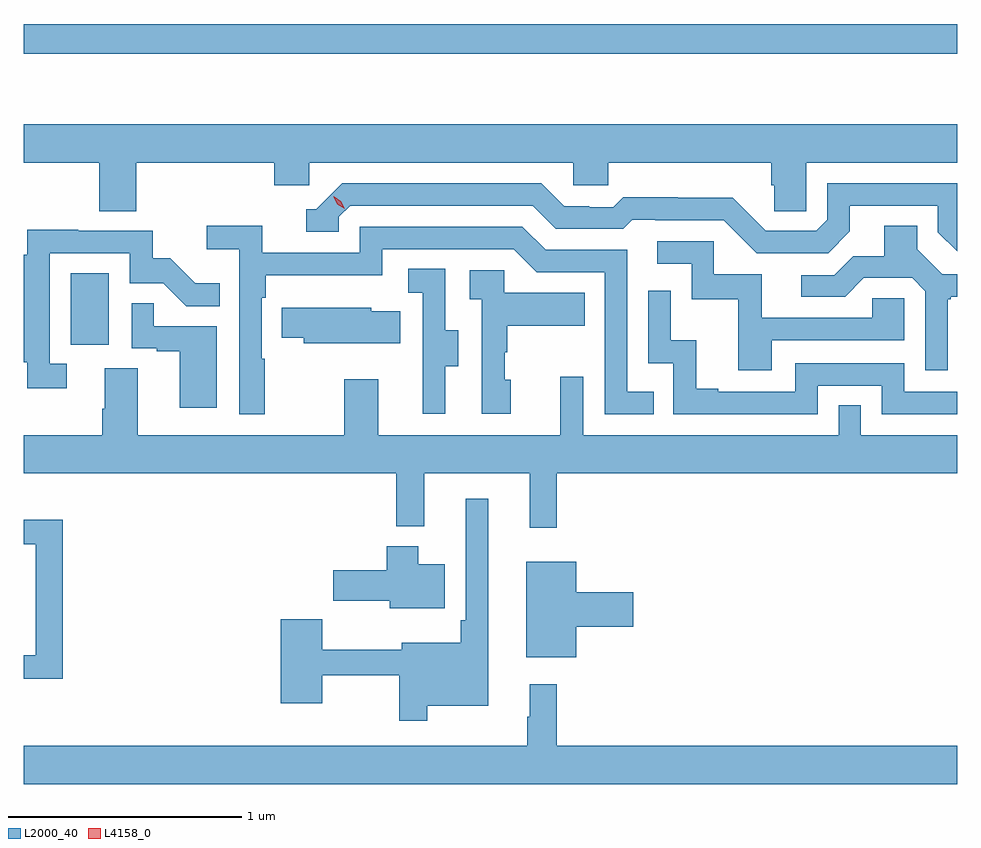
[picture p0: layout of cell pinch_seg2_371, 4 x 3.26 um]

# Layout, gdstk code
import gdstk
lib = gdstk.Library(unit=1e-6, precision=1e-09)
def R(c, l, rs):  # rectangles x0, y0, x1, y1
    for r in rs: c.add(gdstk.rectangle(r[:2], r[2:], *l))
def P(c, l, *ps):  # polygons
    for p in ps: c.add(gdstk.Polygon(p, *l))
L2000_40 = (2000, 40)
L4158_0 = (4158, 0)

pinch_seg2_371 = lib.new_cell('pinch_seg2_371')
R(pinch_seg2_371, L2000_40, [(992.714,620.214,992.878,620.521), (992.514,621.462,996.514,621.59)])
P(pinch_seg2_371, L2000_40, [(992.514,620.996),(992.836,620.996),(992.836,620.788),(992.996,620.788),(992.996,620.996),(993.587,620.996),(993.587,620.898),(993.738,620.898),(993.738,620.996),(994.869,620.996),(994.869,620.898),(995.019,620.898),(995.019,620.996),(995.717,620.996),(995.717,620.898),(995.731,620.898),(995.731,620.788),(995.868,620.788),(995.868,620.996),(996.514,620.996),(996.514,621.16),(992.514,621.16)],
  [(996.055,620.701),(996.055,620.811),(996.432,620.811),(996.432,620.697),(996.514,620.615),(996.514,620.907),(995.958,620.907),(995.958,620.751),(995.91,620.703),(995.694,620.703),(995.552,620.845),(995.316,620.845),(995.316,620.848),(995.083,620.848),(995.041,620.805),(994.938,620.805),(994.938,620.808),(994.831,620.808),(994.732,620.907),(993.879,620.907),(993.768,620.796),(993.725,620.796),(993.725,620.7),(993.864,620.7),(993.864,620.763),(993.912,620.811),(994.695,620.811),(994.794,620.712),(995.083,620.712),(995.122,620.751),(995.221,620.751),(995.221,620.748),(995.514,620.748),(995.655,620.607),(995.961,620.607)],
  [(996.475,620.409),(996.487,620.409),(996.487,620.42),(996.514,620.42),(996.514,620.517),(996.45,620.517),(996.343,620.624),(996.343,620.726),(996.203,620.726),(996.203,620.594),(996.068,620.594),(995.988,620.514),(995.847,620.514),(995.847,620.421),(996.034,620.421),(996.115,620.502),(996.321,620.502),(996.378,620.445),(996.378,620.106),(996.475,620.106)],
  [(993.547,620.156),(993.534,620.156),(993.534,620.417),(993.551,620.417),(993.551,620.513),(994.05,620.513),(994.05,620.625),(994.614,620.625),(994.713,620.526),(995.004,620.526),(995.004,619.917),(995.213,619.917),(995.213,620.013),(995.1,620.013),(995.1,620.622),(994.75,620.622),(994.651,620.721),(993.954,620.721),(993.954,620.61),(993.536,620.61),(993.536,620.726),(993.297,620.726),(993.297,620.624),(993.438,620.624),(993.438,619.917),(993.547,619.917)],
  [(992.698,620.133),(992.625,620.133),(992.625,620.607),(992.967,620.607),(992.967,620.478),(993.111,620.478),(993.209,620.38),(993.353,620.38),(993.353,620.479),(993.249,620.479),(993.142,620.586),(993.066,620.586),(993.066,620.703),(992.747,620.703),(992.747,620.708),(992.528,620.708),(992.528,620.6),(992.514,620.6),(992.514,620.14),(992.528,620.14),(992.528,620.028),(992.698,620.028)],
  [(995.719,620.235),(996.288,620.235),(996.288,620.415),(996.151,620.415),(996.151,620.331),(995.677,620.331),(995.677,620.517),(995.472,620.517),(995.472,620.658),(995.229,620.658),(995.229,620.562),(995.376,620.562),(995.376,620.409),(995.575,620.409),(995.575,620.106),(995.719,620.106)],
  [(994.321,620.122),(994.375,620.122),(994.375,620.277),(994.32,620.277),(994.32,620.54),(994.161,620.54),(994.161,620.437),(994.224,620.437),(994.224,620.133),(994.223,620.133),(994.223,619.92),(994.321,619.92)],
  [(994.6,620.064),(994.575,620.064),(994.575,620.183),(994.585,620.183),(994.585,620.297),(994.919,620.297),(994.919,620.437),(994.572,620.437),(994.572,620.535),(994.425,620.535),(994.425,620.411),(994.476,620.411),(994.476,619.92),(994.6,619.92)],
  [(995.916,620.04),(996.192,620.04),(996.192,619.917),(996.514,619.917),(996.514,620.013),(996.288,620.013),(996.288,620.136),(995.82,620.136),(995.82,620.013),(995.491,620.013),(995.491,620.026),(995.396,620.026),(995.396,620.234),(995.286,620.234),(995.286,620.446),(995.19,620.446),(995.19,620.136),(995.298,620.136),(995.298,619.917),(995.916,619.917)],
  [(993.34,620.295),(993.071,620.295),(993.071,620.393),(992.976,620.393),(992.976,620.199),(993.083,620.199),(993.083,620.187),(993.182,620.187),(993.182,619.944),(993.34,619.944)],
  [(994.127,620.359),(994.002,620.359),(994.002,620.374),(993.73,620.374),(993.73,620.373),(993.619,620.373),(993.619,620.245),(993.713,620.245),(993.713,620.222),(994.127,620.222)],
  [(996.514,619.828),(996.102,619.828),(996.102,619.955),(996.006,619.955),(996.006,619.828),(994.911,619.828),(994.911,620.077),(994.814,620.077),(994.814,619.828),(994.033,619.828),(994.033,620.068),(993.886,620.068),(993.886,619.828),(993.001,619.828),(993.001,620.114),(992.861,620.114),(992.861,619.94),(992.849,619.94),(992.849,619.828),(992.514,619.828),(992.514,619.664),(994.111,619.664),(994.111,619.436),(994.229,619.436),(994.229,619.664),(994.682,619.664),(994.682,619.431),(994.799,619.431),(994.799,619.664),(996.514,619.664)],
  [(994.243,618.668),(994.504,618.668),(994.504,619.555),(994.407,619.555),(994.407,619.033),(994.387,619.033),(994.387,618.937),(994.133,618.937),(994.133,618.908),(993.792,618.908),(993.792,619.039),(993.614,619.039),(993.614,618.678),(993.792,618.678),(993.792,618.798),(994.122,618.798),(994.122,618.603),(994.243,618.603)],
  [(992.681,619.465),(992.514,619.465),(992.514,619.359),(992.565,619.359),(992.565,618.885),(992.514,618.885),(992.514,618.784),(992.681,618.784)],
  [(994.318,619.273),(994.204,619.273),(994.204,619.351),(994.07,619.351),(994.07,619.248),(993.84,619.248),(993.84,619.118),(994.082,619.118),(994.082,619.085),(994.318,619.085)],
  [(994.882,619.007),(995.125,619.007),(995.125,619.154),(994.882,619.154),(994.882,619.285),(994.667,619.285),(994.667,618.875),(994.882,618.875)],
  [(996.514,618.496),(994.799,618.496),(994.799,618.76),(994.682,618.76),(994.682,618.62),(994.671,618.62),(994.671,618.496),(992.514,618.496),(992.514,618.332),(996.514,618.332)])
P(pinch_seg2_371, L4158_0, [(993.889,620.798),(993.858,620.818),(993.842,620.85),(993.842,620.851),(993.843,620.851),(993.873,620.831),(993.889,620.798),(993.889,620.798)])

lib.write_gds('pinch_seg2_371.gds')
